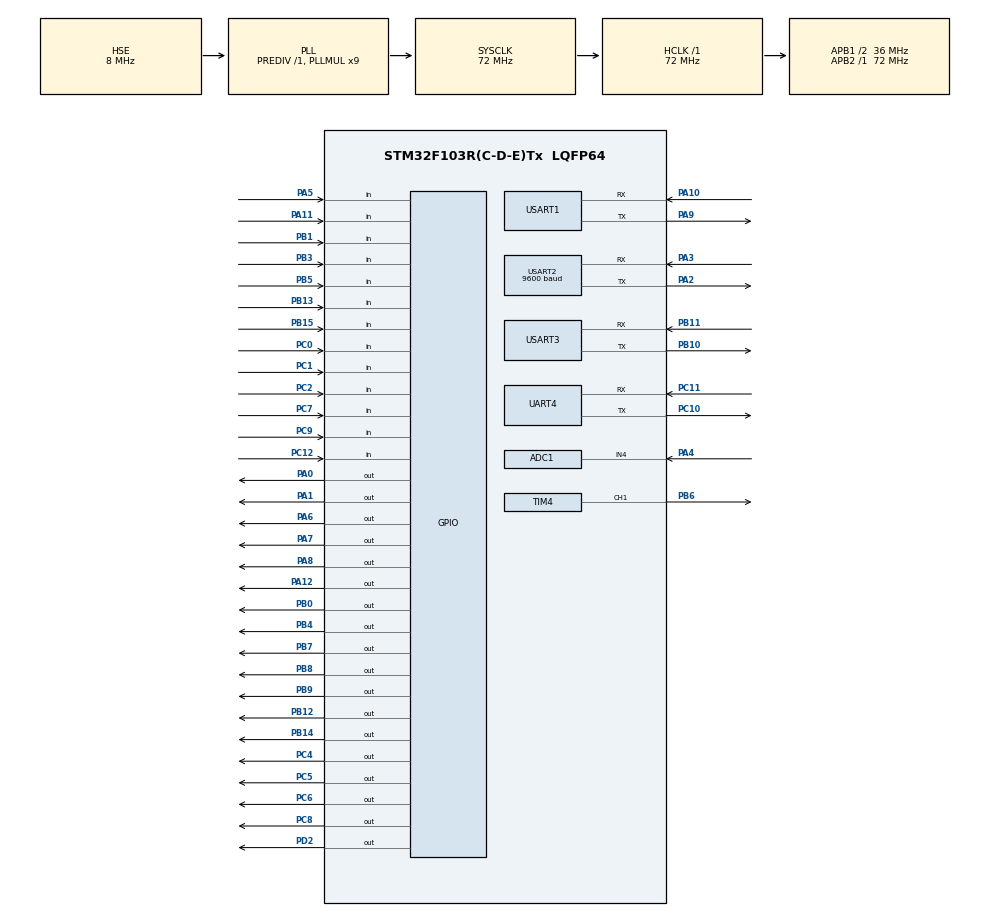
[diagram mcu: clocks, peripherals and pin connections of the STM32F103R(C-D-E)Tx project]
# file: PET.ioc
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ADC1.Channel-1\#ChannelRegularConversion=ADC_CHANNEL_4
ADC1.ContinuousConvMode=DISABLE
ADC1.ExternalTrigConv=ADC_EXTERNALTRIGCONV_T3_TRGO
ADC1.InjNumberOfConversion=0
ADC1.NbrOfConversionFlag=1
ADC1.Rank-1\#ChannelRegularConversion=1
ADC1.SamplingTime-1\#ChannelRegularConversion=ADC_SAMPLETIME_55CYCLES_5
ADC1.master=1
Mcu.Family=STM32F1
Mcu.Name=STM32F103R(C-D-E)Tx
Mcu.Package=LQFP64
NVIC.PriorityGroup=NVIC_PRIORITYGROUP_4
NVIC.TIM1_UP_IRQn=true\:0\:0\:false\:false\:true\:true\:true
NVIC.TIM2_IRQn=true\:0\:0\:false\:false\:true\:true\:true
NVIC.TIM4_IRQn=true\:0\:0\:false\:false\:true\:true\:true
NVIC.USART1_IRQn=true\:0\:0\:false\:false\:true\:true\:true
NVIC.USART2_IRQn=true\:0\:0\:false\:false\:true\:true\:true
PA0-WKUP.GPIO_ModeDefaultOutputPP=GPIO_MODE_OUTPUT_OD
PA0-WKUP.GPIO_Speed=GPIO_SPEED_FREQ_HIGH
PA0-WKUP.PinState=GPIO_PIN_SET
PA0-WKUP.Signal=GPIO_Output
PA1.GPIO_ModeDefaultOutputPP=GPIO_MODE_OUTPUT_OD
PA1.GPIO_Speed=GPIO_SPEED_FREQ_HIGH
PA1.PinState=GPIO_PIN_SET
PA1.Signal=GPIO_Output
PA10.Mode=Asynchronous
PA10.Signal=USART1_RX
PA11.Signal=GPIO_Input
PA12.GPIO_Speed=GPIO_SPEED_FREQ_HIGH
PA12.PinState=GPIO_PIN_SET
PA12.Signal=GPIO_Output
PA13.Mode=Serial_Wire
PA13.Signal=SYS_JTMS-SWDIO
PA14.Mode=Serial_Wire
PA14.Signal=SYS_JTCK-SWCLK
PA2.Mode=Asynchronous
PA2.Signal=USART2_TX
PA3.Mode=Asynchronous
PA3.Signal=USART2_RX
PA4.Signal=ADCx_IN4
PA5.Signal=GPIO_Input
PA6.GPIO_ModeDefaultOutputPP=GPIO_MODE_OUTPUT_OD
PA6.GPIO_Speed=GPIO_SPEED_FREQ_HIGH
PA6.PinState=GPIO_PIN_SET
PA6.Signal=GPIO_Output
PA7.GPIO_ModeDefaultOutputPP=GPIO_MODE_OUTPUT_OD
PA7.GPIO_Speed=GPIO_SPEED_FREQ_HIGH
PA7.PinState=GPIO_PIN_SET
PA7.Signal=GPIO_Output
PA8.GPIO_Speed=GPIO_SPEED_FREQ_HIGH
PA8.PinState=GPIO_PIN_SET
PA8.Signal=GPIO_Output
PA9.Mode=Asynchronous
PA9.Signal=USART1_TX
PB0.GPIO_Speed=GPIO_SPEED_FREQ_HIGH
PB0.PinState=GPIO_PIN_SET
PB0.Signal=GPIO_Output
PB1.Signal=GPIO_Input
PB10.Mode=Asynchronous
PB10.Signal=USART3_TX
PB11.Mode=Asynchronous
PB11.Signal=USART3_RX
PB12.GPIO_Speed=GPIO_SPEED_FREQ_HIGH
PB12.PinState=GPIO_PIN_SET
PB12.Signal=GPIO_Output
PB13.Signal=GPIO_Input
PB14.GPIO_Speed=GPIO_SPEED_FREQ_HIGH
PB14.PinState=GPIO_PIN_SET
PB14.Signal=GPIO_Output
PB15.Signal=GPIO_Input
PB3.Signal=GPIO_Input
PB4.GPIO_Speed=GPIO_SPEED_FREQ_HIGH
PB4.PinState=GPIO_PIN_SET
PB4.Signal=GPIO_Output
PB5.Signal=GPIO_Input
PB6.Signal=S_TIM4_CH1
PB7.GPIO_Speed=GPIO_SPEED_FREQ_HIGH
PB7.PinState=GPIO_PIN_SET
PB7.Signal=GPIO_Output
PB8.GPIO_ModeDefaultOutputPP=GPIO_MODE_OUTPUT_OD
PB8.GPIO_Speed=GPIO_SPEED_FREQ_HIGH
PB8.PinState=GPIO_PIN_RESET
PB8.Signal=GPIO_Output
PB9.GPIO_ModeDefaultOutputPP=GPIO_MODE_OUTPUT_OD
PB9.GPIO_Speed=GPIO_SPEED_FREQ_HIGH
PB9.Signal=GPIO_Output
PC0.Signal=GPIO_Input
PC1.Signal=GPIO_Input
PC10.Mode=Asynchronous
PC10.Signal=UART4_TX
PC11.Mode=Asynchronous
PC11.Signal=UART4_RX
PC12.Signal=GPIO_Input
PC2.Signal=GPIO_Input
PC4.GPIO_ModeDefaultOutputPP=GPIO_MODE_OUTPUT_OD
PC4.GPIO_Speed=GPIO_SPEED_FREQ_HIGH
PC4.PinState=GPIO_PIN_SET
PC4.Signal=GPIO_Output
PC5.GPIO_ModeDefaultOutputPP=GPIO_MODE_OUTPUT_OD
PC5.GPIO_Speed=GPIO_SPEED_FREQ_HIGH
PC5.PinState=GPIO_PIN_SET
PC5.Signal=GPIO_Output
PC6.GPIO_Speed=GPIO_SPEED_FREQ_HIGH
PC6.PinState=GPIO_PIN_SET
PC6.Signal=GPIO_Output
PC7.Signal=GPIO_Input
PC8.GPIO_Speed=GPIO_SPEED_FREQ_HIGH
PC8.PinState=GPIO_PIN_SET
PC8.Signal=GPIO_Output
PC9.Signal=GPIO_Input
PD0-OSC_IN.Mode=HSE-External-Oscillator
PD0-OSC_IN.Signal=RCC_OSC_IN
PD1-OSC_OUT.Mode=HSE-External-Oscillator
PD1-OSC_OUT.Signal=RCC_OSC_OUT
PD2.GPIO_Speed=GPIO_SPEED_FREQ_HIGH
PD2.PinState=GPIO_PIN_SET
PD2.Signal=GPIO_Output
ProjectManager.HeapSize=0x200
ProjectManager.StackSize=0x400
ProjectManager.TargetToolchain=MDK-ARM V5
RCC.ADCPresc=RCC_ADCPCLK2_DIV6
RCC.AHBFreq_Value=72000000
RCC.APB1CLKDivider=RCC_HCLK_DIV2
RCC.APB1Freq_Value=36000000
RCC.APB1TimFreq_Value=72000000
RCC.APB2Freq_Value=72000000
RCC.APB2TimFreq_Value=72000000
RCC.HCLKFreq_Value=72000000
RCC.PLLMUL=RCC_PLL_MUL9
RCC.PLLSourceVirtual=RCC_PLLSOURCE_HSE
RCC.SYSCLKFreq_VALUE=72000000
RCC.SYSCLKSource=RCC_SYSCLKSOURCE_PLLCLK
RCC.USBFreq_Value=72000000
SH.ADCx_IN4.0=ADC1_IN4,IN4
SH.S_TIM4_CH1.0=TIM4_CH1,PWM Generation1 CH1
TIM1.Period=300
TIM1.Prescaler=72-1
TIM2.Period=1000-1
TIM2.Prescaler=72-1
TIM4.Channel-PWM\ Generation1\ CH1=TIM_CHANNEL_1
TIM4.Period=300
TIM4.Prescaler=72-1
TIM4.Pulse-PWM\ Generation1\ CH1=50
UART4.VirtualMode=Asynchronous
USART1.VirtualMode=VM_ASYNC
USART2.BaudRate=9600
USART2.VirtualMode=VM_ASYNC
USART3.VirtualMode=VM_ASYNC
VP_TIM1_VS_ClockSourceINT.Mode=Internal
VP_TIM2_VS_ClockSourceINT.Mode=Internal
VP_TIM4_VS_ClockSourceINT.Mode=Internal
board=custom

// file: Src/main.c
/* USER CODE BEGIN Header */
/**
  ******************************************************************************
  * @file           : main.c
  * @brief          : Main program body
  ******************************************************************************
  * @attention
  *
  * <h2><center>&copy; Copyright (c) 2019 STMicroelectronics.
  * All rights reserved.</center></h2>
  *
  * This software component is licensed by ST under BSD 3-Clause license,
  * the "License"; You may not use this file except in compliance with the
  * License. You may obtain a copy of the License at:
  *                        opensource.org/licenses/BSD-3-Clause
  *
  ******************************************************************************
  */
/* USER CODE END Header */

#include "main.h"
#include "adc.h"
#include "tim.h"
#include "usart.h"
#include "gpio.h"

/* USER CODE BEGIN Includes */
#include "stdio.h"
#include "config.h"
#include "string.h"
#include "24c16.h"
/* USER CODE END Includes */

/* USER CODE BEGIN PD */
#ifdef __GNUC__
  /* With GCC/RAISONANCE, small printf (option LD Linker->Libraries->Small printf
     set to 'Yes') calls __io_putchar() */
  #define PUTCHAR_PROTOTYPE int __io_putchar(int ch)
#else
  #define PUTCHAR_PROTOTYPE int fputc(int ch, FILE *f)
#endif /* __GNUC__ */
/* USER CODE END PD */

/* USER CODE BEGIN PV */
PUTCHAR_PROTOTYPE
{
  /* Place your implementation of fputc here */
  /* e.g. write a character to the EVAL_COM1 and Loop until the end of transmission */
  HAL_UART_Transmit(&huart4, (uint8_t *)&ch, 1, 0xFFFF);

  return ch;
}
/* USER CODE END PV */

void SystemClock_Config(void);
/* USER CODE BEGIN PFP */
/************************/
//CONFIG USR_C322 MODE

static const char *para[]=
{
	"+++",
	"a",
	"AT+WMODE=STA\n",
	//"AT+WSTA=GDZYdating,GDZY888888@\n\r",
	"AT+WSTA=HUAWEI_B316_FC7A,88888888\n\r",
	//"AT+WSTA=HUAWEI_B316_EB98,haohanbo123\n",
	"AT+WANN=DHCP\n",
	"AT+WANN=STATIC,Address,Mask,Gateway,Dns\n",
	"AT+WSLK\n",
	"AT+WKMOD=TRANS\n",
	//"AT+SOCKA=TCPC,172.16.40.42,8080\n",
	//"AT+SOCKA=TCPC,172.16.40.39,8999\n",
	"AT+SOCKA=TCPC,118.25.181.199,8999\n",
//	"AT+SOCKA=TCPC,mini.luanling.club,8080\n",
	"AT+ENTM\n"
};
/************************/

/************************/
//USRART1 CONFIG VALUE

Driver driver;
uint8_t test_value = 0;

uint8_t test_c322_value = 0xff;
uint8_t C322_Config_Success = 0;
__IO uint8_t usr_c322 = 0x00;

USART Uart1;
USART Uart2;
uint8_t Noise_SendData[] = {0x01,0x03,0x00,0x00,0x00,0x01,0x84,0x0a};
uint8_t Heart_beat[] = {0xbb,0xbb,0x00,0x00,0x00,0x00,0x00,0x00,0x00,0x00};
uint8_t Alarm_Data[] = {0xCC,0xCC,0x00,0x00,0x00,0x00,0x02,0x00,0x00,0x00};
uint8_t Heart_Rev[] = {0xdd,0xdd,0x01,0x02,0x03,0x04,0x05,0x06,0x00,0x00};
uint8_t work_status = 0;
uint8_t id_name[4];
us8_t work_fault;
uint8_t noise_num = 0;
uint8_t alarm_start = 0;
uint8_t net_work = 1;
uint8_t alarm_times = 0;
uint8_t auto_fooh = 5;
uint8_t auto_water = 5;
uint8_t net_check = 0;
uint8_t heart_check = 0;
uint8_t chui_value = 0;
uint8_t chui_step = 0;
uint8_t chui_times = 0;
uint8_t noise_alarm = 0;
uint8_t Auto_CleanOut(void);
/************************/

/************************/
//MEEP

uint8_t meep_status = 0;

/************************/

/************************/
//LED
uint8_t led_status = 0x03;
uint8_t led_set_work = 0;

/************************/

/************************/
//DOOR
uint8_t door_status = 0;
/************************/

/************************/
//CPU ID
uint32_t Lock_Code;
uint32_t CpuID[3];

/************************/

/************************/
//24c16
uint32_t Buff_test;

/************************/

/************************/

uint16_t Noise_db = 0;

/************************/

/************************/

uint8_t auto_clean = 0;
uint8_t auto_clean_step = 0;

/************************/
/************************/
// TIM2 CONFIG

uint32_t t2_count_ms[T2_MS_ARRAY_NUM];
uint32_t t1_count_ms;

/************************/
/* USER CODE END PFP */

/* USER CODE BEGIN 0 */
uint8_t Config_usr322(void);
void MEEP_SET(uint8_t meep);
void WORK_LED(uint8_t led);
void WORK_DOOR(uint8_t door);
void HC_SR505_Status(void);
uint8_t Noise_Status(void);
uint8_t ModbusCrc16_Receive(unsigned char Frame[], unsigned char Length);
uint8_t ModbusCrc16_Send(unsigned char Frame[], unsigned char Length);
void GetLockCode(void);
void Heart_Beat(void);
void USR_C322_ACTION(void);
void CHECK_STATUS(void);
void READ_WORKSTATUS(void);
void OPEN_DOOR(void);
void test_relay(void);
void C322_CONFIG_Init(void);
void SoftReset(void);
void chuifengji(void);
/* USER CODE END 0 */

int main(void)
{

  /* MCU Configuration--------------------------------------------------------*/

  /* Reset of all peripherals, Initializes the Flash interface and the Systick. */
  HAL_Init();

  /* Configure the system clock */
  SystemClock_Config();

  /* Initialize all configured peripherals */
  MX_GPIO_Init();
  MX_ADC1_Init();
  MX_TIM2_Init();
  MX_UART4_Init();
  MX_USART1_UART_Init();
  MX_USART2_UART_Init();
  MX_USART3_UART_Init();
  MX_TIM1_Init();
  MX_TIM4_Init();
  /* USER CODE BEGIN 2 */
	GetLockCode();
	HAL_UART_Receive_IT(&huart1, (uint8_t *)&Uart1.aRxBuffer, 1);
	HAL_UART_Receive_IT(&huart2, (uint8_t *)&Uart2.aRxBuffer, 1);
	HAL_TIM_Base_Start_IT(&htim2); //使用定时器的时候调用这个函数启动
	HAL_TIM_Base_Start_IT(&htim1); //使用定时器的时候调用这个函数启动
	READ_WORKSTATUS();
	//HAL_TIM_Base_Stop_IT(&htim2);  //停止定时器的时候调用这个函数关闭
  /* USER CODE END 2 */

  /* Infinite loop */
  while (1)
  {

    /* USER CODE BEGIN 3 */
			//test_relay();
		C322_CONFIG_Init();
		CHECK_STATUS();
		Config_usr322();
		WORK_LED(led_status);
		MEEP_SET(meep_status);
		WORK_DOOR(door_status);
		HC_SR505_Status();
		Noise_Status();
		USR_C322_ACTION();
		Heart_Beat();
		Auto_CleanOut();
		chuifengji();
  }
  /* USER CODE END 3 */
}

void SystemClock_Config(void)
{
  RCC_OscInitTypeDef RCC_OscInitStruct = {0};
  RCC_ClkInitTypeDef RCC_ClkInitStruct = {0};
  RCC_PeriphCLKInitTypeDef PeriphClkInit = {0};

  /** Initializes the CPU, AHB and APB busses clocks
  */
  RCC_OscInitStruct.OscillatorType = RCC_OSCILLATORTYPE_HSE;
  RCC_OscInitStruct.HSEState = RCC_HSE_ON;
  RCC_OscInitStruct.HSEPredivValue = RCC_HSE_PREDIV_DIV1;
  RCC_OscInitStruct.HSIState = RCC_HSI_ON;
  RCC_OscInitStruct.PLL.PLLState = RCC_PLL_ON;
  RCC_OscInitStruct.PLL.PLLSource = RCC_PLLSOURCE_HSE;
  RCC_OscInitStruct.PLL.PLLMUL = RCC_PLL_MUL9;
  if (HAL_RCC_OscConfig(&RCC_OscInitStruct) != HAL_OK)
  {
    Error_Handler();
  }
  /** Initializes the CPU, AHB and APB busses clocks
  */
  RCC_ClkInitStruct.ClockType = RCC_CLOCKTYPE_HCLK|RCC_CLOCKTYPE_SYSCLK
                              |RCC_CLOCKTYPE_PCLK1|RCC_CLOCKTYPE_PCLK2;
  RCC_ClkInitStruct.SYSCLKSource = RCC_SYSCLKSOURCE_PLLCLK;
  RCC_ClkInitStruct.AHBCLKDivider = RCC_SYSCLK_DIV1;
  RCC_ClkInitStruct.APB1CLKDivider = RCC_HCLK_DIV2;
  RCC_ClkInitStruct.APB2CLKDivider = RCC_HCLK_DIV1;

  if (HAL_RCC_ClockConfig(&RCC_ClkInitStruct, FLASH_LATENCY_2) != HAL_OK)
  {
    Error_Handler();
  }
  PeriphClkInit.PeriphClockSelection = RCC_PERIPHCLK_ADC;
  PeriphClkInit.AdcClockSelection = RCC_ADCPCLK2_DIV6;
  if (HAL_RCCEx_PeriphCLKConfig(&PeriphClkInit) != HAL_OK)
  {
    Error_Handler();
  }
}

/* USER CODE BEGIN 4 */

/**
  * @brief  This function Config UsrC322.
  * @param  None
  * @retval : None
  */
void test_relay(void)
{
		if(t2_count_ms[T2_COUNTER_S_10] >= T2_TIMEOUT_S_10)
		{
			t2_count_ms[T2_COUNTER_S_10] = 0;
			test_value++;
			if(test_value%2 == 0)
			{
				START_RELAY2;
				printf("打开\r\n");
			}
			else
			{
				CLOSE_RELAY2;
				printf("关闭\r\n");
			}
			Delay_ms(2000);
			printf("读到信号为 %d。\r\n",READ_RELAY2);
		}
}
void C322_CONFIG_Init(void)
{
			if((test_c322_value == 0)&&(C322_Config_Success == 0))
			{
				test_c322_value++;
				Delay_ms(1000);
				HAL_GPIO_WritePin(GPIOA,GPIO_PIN_0,GPIO_PIN_RESET);
				Delay_ms(8000);
				HAL_GPIO_WritePin(GPIOA,GPIO_PIN_0,GPIO_PIN_SET);
			}
			else if(test_c322_value == 2)
			{
			//	meep_status = MEEP_SHORT_TIME;
			//	t2_count_ms[T2_COUNTER_MS_1500] = 0;
				test_c322_value++;
				C322_Config_Success = 1;
				at24c16_write(0x02,1);
				driver.step = 0x01;
				net_work = 0;
				work_fault.b = 0;
				printf("WIFI模块配置/连接成功!开始正常工作.\r\n");
			}
			if((heart_check >= 2) && (net_check == 5))
			{
				net_check = 0;
				printf("未收到心跳回复，网络断开。\r\n");
			}
			if((heart_check >= 3) && (test_c322_value != 1) &&(driver.mode != 0x02))
			{
				SoftReset();
			}
}
void SoftReset(void)
{
	__set_FAULTMASK(1);
	NVIC_SystemReset();
}
/**
  * @brief  This function Config UsrC322.
  * @param  None
  * @retval : None
  */
uint8_t Config_usr322(void)
{
	if(C322_Config_Success == 2)
	{
			switch(usr_c322)
			{
				case USR_C322_RESET:
					usr_c322 += USR_C322_UART;
					HAL_GPIO_WritePin(GPIOA,GPIO_PIN_1,GPIO_PIN_RESET);
					Delay_ms(500);
					HAL_GPIO_WritePin(GPIOA,GPIO_PIN_1,GPIO_PIN_SET);
					Delay_ms(2000);
				break;
				case USR_C322_UART:
					usr_c322 += USR_C322_UART;
					HAL_UART_Transmit(&huart1, (uint8_t *)para[0],strlen(para[0]), UART_Transmit_Timeout);
				break;
				case USR_C322_CONFIG:
					usr_c322 += USR_C322_UART;
					Delay_ms(1000);
					HAL_UART_Transmit(&huart1, (uint8_t *)para[1],strlen(para[1]), UART_Transmit_Timeout);
				break;
				case USR_C322_MODE:
					usr_c322 += USR_C322_UART;
					Delay_ms(500);
					HAL_UART_Transmit(&huart1, (uint8_t *)para[2],strlen(para[2]), UART_Transmit_Timeout);
				break;
				case USR_C322_ROUTER:
					usr_c322 += USR_C322_UART;
					Delay_ms(500);
					HAL_UART_Transmit(&huart1, (uint8_t *)para[3],strlen(para[3]), UART_Transmit_Timeout);
				break;
				case USR_C322_DHCP:
					usr_c322 += USR_C322_UART;
					Delay_ms(500);
					HAL_UART_Transmit(&huart1, (uint8_t *)para[4],strlen(para[4]), UART_Transmit_Timeout);
				break;
				case USR_C322_CONNECT_ROUTER_STATUS:
					usr_c322 += USR_C322_UART;
					Delay_ms(500);
					HAL_UART_Transmit(&huart1, (uint8_t *)para[6],strlen(para[6]), UART_Transmit_Timeout);
				break;
				case USR_C322_SERIALAPP:
					usr_c322 += USR_C322_UART;
					Delay_ms(500);
					HAL_UART_Transmit(&huart1, (uint8_t *)para[7],strlen(para[7]), UART_Transmit_Timeout);
				break;
				case USR_C322_SERVER:
					usr_c322 += USR_C322_UART;
					Delay_ms(500);
					HAL_UART_Transmit(&huart1, (uint8_t *)para[8],strlen(para[8]), UART_Transmit_Timeout);
				break;
				case USR_C322_WORK:
					usr_c322 += USR_C322_UART;
					Delay_ms(500);
					HAL_UART_Transmit(&huart1, (uint8_t *)para[9],strlen(para[9]), UART_Transmit_Timeout);
				break;
			}
			if((usr_c322 < USR_C322_ENTM_OK) && (t2_count_ms[T2_COUNTER_S_20] >= T2_TIMEOUT_S_20))
			{
				t2_count_ms[T2_COUNTER_S_20] = 0;
				printf("USR-C322 配置不成功。\r\n");
				usr_c322 = 0;
			}
	}
	return 0;
}

/**
  * @brief  This function USART1 Call Back.
  * @param  None
  * @retval : None
  */
void HAL_UART_RxCpltCallback(UART_HandleTypeDef *huart)
{
	UNUSED(huart);
	if(huart->Instance == USART1)
	{
		if(Uart1.Rx_Cnt >= 255)
		{
			Uart1.Rx_Cnt = 0;
			memset(Uart1.RxBuff,0x00,sizeof(Uart1.RxBuff));
		}
		else
		{
			switch(usr_c322)
			{
				case USR_C322_RECEIVE:
					if(Uart1.aRxBuffer == 'a')
					{
						usr_c322 = USR_C322_CONFIG;
						Uart1.Rx_Cnt = 0;
						memset(Uart1.RxBuff,0x00,sizeof(Uart1.RxBuff));
					}
				break;
				case USR_C322_OK:
					Uart1.RxBuff[Uart1.Rx_Cnt++] = Uart1.aRxBuffer;
					if(Uart1.Rx_Cnt >= 3)
					{
						if((Uart1.RxBuff[0] == '+')&&(Uart1.RxBuff[1] == 'O')&&(Uart1.RxBuff[2] == 'K'))
						{
							usr_c322 = USR_C322_MODE;
							Uart1.Rx_Cnt = 0;
							memset(Uart1.RxBuff,0x00,sizeof(Uart1.RxBuff));
						}
					}
				break;
				case USR_C322_ROUTER_STATUS:
						Uart1.RxBuff[Uart1.Rx_Cnt++] = Uart1.aRxBuffer;
						if((Uart1.RxBuff[Uart1.Rx_Cnt-4] == ',')&&(Uart1.RxBuff[Uart1.Rx_Cnt-3] == '0'))
						{
									HAL_UART_Transmit(&huart4, (uint8_t *)&Uart1.RxBuff, Uart1.Rx_Cnt,0xFFFF);
							//		printf("网络原因，配置不成功！\r\n");
									usr_c322 = USR_C322_DHCP;
								//	usr_c322++;
									Uart1.Rx_Cnt = 0;
									memset(Uart1.RxBuff,0x00,sizeof(Uart1.RxBuff));
						}
						else if(Uart1.RxBuff[Uart1.Rx_Cnt-6] == ',')
						{
							HAL_UART_Transmit(&huart4, (uint8_t *)&Uart1.RxBuff, Uart1.Rx_Cnt,0xFFFF);
							Uart1.Rx_Cnt = 0;
							memset(Uart1.RxBuff,0x00,sizeof(Uart1.RxBuff));
							usr_c322++;
						}
						else if(Uart1.RxBuff[Uart1.Rx_Cnt-5] == ',')
						{
							HAL_UART_Transmit(&huart4, (uint8_t *)&Uart1.RxBuff, Uart1.Rx_Cnt,0xFFFF);
							Uart1.Rx_Cnt = 0;
							memset(Uart1.RxBuff,0x00,sizeof(Uart1.RxBuff));
							usr_c322++;
						}
						else if(Uart1.RxBuff[Uart1.Rx_Cnt-4] == ',')
						{
							HAL_UART_Transmit(&huart4, (uint8_t *)&Uart1.RxBuff, Uart1.Rx_Cnt,0xFFFF);
							Uart1.Rx_Cnt = 0;
							memset(Uart1.RxBuff,0x00,sizeof(Uart1.RxBuff));
							usr_c322++;
						}
				break;
				default:
					if(usr_c322 >= USR_C322_ENTM_OK+1)
					{
						Uart1.RxBuff[Uart1.Rx_Cnt++] = Uart1.aRxBuffer;
						if(Uart1.Rx_Cnt >= 10)
						{
							if(( Uart1.RxBuff[0] == 0xFF) && (id_name[0] == Uart1.RxBuff[2]) && (id_name[1] == Uart1.RxBuff[3])&& \
								(id_name[2] == Uart1.RxBuff[4])&& (id_name[3] == Uart1.RxBuff[5]))
							{
								if(ModbusCrc16_Receive(Uart1.RxBuff,USR_C322_RECEIVE_LENGTH) == True)
								{
									Uart1.Flag = 0;
									Uart1.Rx_Cnt = 0;
									memcpy(Uart1.RxBuffer,&Uart1.RxBuff,Para_Data_Length);
									memset(Uart1.RxBuff,0x00,sizeof(Uart1.RxBuff));
									Uart1.ReceiveSuccess_Flag = 1;
								}
								else
								{
									Uart1.Rx_Cnt = 0;
									Uart1.Flag = 0;
									memset(Uart1.RxBuff,0x00,sizeof(Uart1.RxBuff));
									Uart1.ReceiveSuccess_Flag = 0;
								}
							}
							else if((Heart_Rev[0] == Uart1.RxBuff[0]) && (Heart_Rev[1] == Uart1.RxBuff[1]) && (id_name[0] == Uart1.RxBuff[2]) && \
								(id_name[1] == Uart1.RxBuff[3])&& (id_name[2] == Uart1.RxBuff[4])&& (id_name[3] == Uart1.RxBuff[5]) && \
							(Uart1.RxBuff[6] == 0x05)&& (Uart1.RxBuff[7] == 0X06))
							{
									net_check = 5;
									printf("收到心跳回复。\r\n");
									heart_check = 0;
									if((test_c322_value == 1) && (C322_Config_Success == 0))
									{
										test_c322_value++;
									}
									Uart1.Rx_Cnt = 0;
									Uart1.Flag = 0;
									memset(Uart1.RxBuff,0x00,sizeof(Uart1.RxBuff));
									Uart1.ReceiveSuccess_Flag = 0;
							}
							else
							{
									Uart1.Rx_Cnt = 0;
									Uart1.Flag = 0;
									memset(Uart1.RxBuff,0x00,sizeof(Uart1.RxBuff));
									Uart1.ReceiveSuccess_Flag = 0;
							}
						}
					}
					else
					{
						Uart1.RxBuff[Uart1.Rx_Cnt++] = Uart1.aRxBuffer;
						if((Uart1.RxBuff[Uart1.Rx_Cnt-1] == 0x0A)&&(Uart1.RxBuff[Uart1.Rx_Cnt-2] == 0x0D)&&(Uart1.RxBuff[Uart1.Rx_Cnt-3] == 'K')&&(Uart1.RxBuff[Uart1.Rx_Cnt-4] == 'O')) //判断结束位
						{
							HAL_UART_Transmit(&huart4, (uint8_t *)&Uart1.RxBuff, Uart1.Rx_Cnt,0xFFFF);
							if(usr_c322 == USR_C322_ENTM_OK)
							{
								t2_count_ms[T2_COUNTER_S_60] = 60000;
							//	meep_status = MEEP_SHORT_TIME;
							//	t2_count_ms[T2_COUNTER_MS_1500] = 0;
								printf("WIFI AT命令配置成功。\r\n");
								driver.step = 0x01;
								net_work = 0;
								work_fault.b = 0;
							}
							Uart1.Rx_Cnt = 0;
							memset(Uart1.RxBuff,0x00,sizeof(Uart1.RxBuff));
							usr_c322++;
						}
						else if((Uart1.RxBuff[Uart1.Rx_Cnt-1] == 0x0A)&&(Uart1.RxBuff[Uart1.Rx_Cnt-2] == 0x0D)&&(Uart1.RxBuff[Uart1.Rx_Cnt-6] == 'R')&&(Uart1.RxBuff[Uart1.Rx_Cnt-7] == 'R')) //判断结束位
						{
							HAL_UART_Transmit(&huart4, (uint8_t *)&Uart1.RxBuff, Uart1.Rx_Cnt,0xFFFF);
							Uart1.Rx_Cnt = 0;
							memset(Uart1.RxBuff,0x00,sizeof(Uart1.RxBuff));
							usr_c322++;
						}
					}
				break;
			}
		}

		HAL_UART_Receive_IT(&huart1, (uint8_t *)&Uart1.aRxBuffer, 1);
	}
	if(huart->Instance == USART2)
	{
		if(Uart2.Rx_Cnt >= 7)
		{
			Uart2.Rx_Cnt = 0;
			Uart2.RxBuff[Uart2.Rx_Cnt++] = Uart2.aRxBuffer;
		}
		else
		{
			Uart2.RxBuff[Uart2.Rx_Cnt++] = Uart2.aRxBuffer;
			if((Uart2.Rx_Cnt >= Noise_Data_Length) && (ModbusCrc16_Receive(Uart2.RxBuff,Uart2.Rx_Cnt) == True))
			{
				Uart2.ReceiveSuccess_Flag = 1;
				Uart2.Rx_Cnt = 0;
			}
		}
		HAL_UART_Receive_IT(&huart2, (uint8_t *)&Uart2.aRxBuffer, 1);
	}
}
/**
  * @brief  This function Meep Set.
  * @param  None
  * @retval : None
  */
void MEEP_SET(uint8_t meep)
{
	switch(meep)
	{
		case MEEP_SHORT_TIME:
			if(t2_count_ms[T2_COUNTER_MS_1500] >= T2_TIMEOUT_MS_1500)
			{
				HAL_TIM_PWM_Stop(&htim4,TIM_CHANNEL_1);
				meep_status = MEEP_CLOSE;
			}
			else
			{
				HAL_TIM_PWM_Start(&htim4,TIM_CHANNEL_1);
			}
		break;
		case MEEP_ALWAY_TIME:
				HAL_TIM_PWM_Start(&htim4,TIM_CHANNEL_1);
		break;
		default:
				HAL_TIM_PWM_Stop(&htim4,TIM_CHANNEL_1);
		break;
	}
}
/**
  * @brief  This function WORK LED Set.
  * @param  None
  * @retval : None
  */
void WORK_LED(uint8_t led)
{
	if(t2_count_ms[T2_COUNTER_MS_500] >= T2_TIMEOUT_MS_500)  //500ms
	{
		t2_count_ms[T2_COUNTER_MS_500] = 0;
		switch(led)
		{
			case WORK_FREE:
				CLOSE_LED1; START_LED2;
			break;
			case WORK_NORMAL:
				if(led_set_work == 0) 		{ CLOSE_LED1;	START_LED2; 	led_set_work = 1; }
				else 											{ CLOSE_LED1;	CLOSE_LED2;		led_set_work = 0; }
			break;
			case WORK_ERROR:
				if(led_set_work == 1) 		{ CLOSE_LED2; START_LED1; 	led_set_work = 0; }
				else 											{ CLOSE_LED2; CLOSE_LED1;		led_set_work = 1; }
		  break;
			case WORK_UNUSUAL:
				CLOSE_LED2; START_LED1;
			break;
		}
	}
}

/**
  * @brief  This function LOOP LED Set.
  * @param  None
  * @retval : None
  */
void WORK_DOOR(uint8_t door)
{
	switch(door)
		{
			case WORK_NORMAL:
				CLOSE_LED4;START_LED3;

			break;
			default:
				CLOSE_LED3;START_LED4;
			break;
		}
}
/**
  * @brief  This function Tim2 Counter.
  * @param  None
  * @retval : None
  */
void HAL_TIM_PeriodElapsedCallback(TIM_HandleTypeDef *htim)
{
		int i;
		if(htim->Instance == TIM2)
		{
			for(i = 0; i < T2_MS_ARRAY_NUM; i++)
			{
				t2_count_ms[i]++;
				if(t2_count_ms[i] >= T2_TIMEOUT_MAXIMUM)
				{
					t2_count_ms[i] = 0;
				}
			}
		}
		if(htim->Instance == TIM1)
		{
				t1_count_ms++;
		}
}
/**
  * @brief  This function Read HC-SR501.
  * @param  None
  * @retval : None
  */
void HC_SR505_Status(void)
{
	if((READ_LIMIT_SWITCH == 0x00) && (driver.step == 1) && (auto_clean == 0x00) && (driver.mode != 0x02))
	{
				driver.step = 0x02;
				t2_count_ms[T2_COUNTER_S_10] = 0;
				printf("门关闭，延时10S继续判断，等待。\r\n");
				CLOSE_RELAY2;
	}
	else if((driver.step == 0x02)&&(t2_count_ms[T2_COUNTER_S_10] > T2_TIMEOUT_S_10))
	{
		t2_count_ms[T2_COUNTER_S_10] = 0;
		if((READ_HC_SR505_OUT2 == 0x00) && (READ_HC_SR505_OUT1 == 0x00) && ((READ_LIMIT_SWITCH == 0x00) && (driver.mode == 0x00)))
		{
			CLOSE_RELAY2;
			driver.step = 0x03;
			meep_status = MEEP_SHORT_TIME;
			t2_count_ms[T2_COUNTER_MS_1500] = 0;
			work_fault.BIT2 = 0;
			printf("门关闭，且无宠物，等待接收指令、待机或自动清洗。\r\n");
		}
		else if((((READ_HC_SR505_OUT2 == 0x01) || (READ_HC_SR505_OUT1 == 0x01)) && (driver.mode == 0x01)) && (READ_LIMIT_SWITCH == 0x00))
		{
			CLOSE_RELAY2;
			driver.step = 0x03;
			meep_status = MEEP_CLOSE;
	//		t2_count_ms[T2_COUNTER_MS_1500] = 0;
			printf("门关闭，且有动物，开启工作，等待接收指令。\r\n");
		}
		else if((driver.mode == 0x01) && (READ_HC_SR505_OUT1 == 0x00) && (READ_HC_SR505_OUT2 == 0x00))
		{
			printf("未检测到宠物。请放入宠物。\r\n");
		//	OPEN_DOOR();
			driver.step = 0x01;
			t2_count_ms[T2_COUNTER_S_10] = 0;
			meep_status = MEEP_SHORT_TIME;
			t2_count_ms[T2_COUNTER_MS_1500] = 0;
			work_fault.BIT1 = 1;
		}
		else if((driver.mode == 0x00) && ((READ_HC_SR505_OUT1 == 0x01) || (READ_HC_SR505_OUT2 == 0x01)))
		{
			printf("空闲时，检测宠物箱有宠物，发送报警。\r\n");
			driver.step = 0x01;
			meep_status = MEEP_SHORT_TIME;
			t2_count_ms[T2_COUNTER_S_10] = 0;
			t2_count_ms[T2_COUNTER_MS_1500] = 0;
			work_fault.BIT1 = 1;
		}
//		if((driver.mode == 0x02) &&((READ_HC_SR505_OUT1 == 0x01) || (READ_HC_SR505_OUT2 == 0x01)) && (auto_clean != 0x00))
//		{
//			//OPEN_DOOR();
//			auto_clean = 0x00;
//			t2_count_ms[T2_COUNTER_S_20] = 0;
//			meep_status = MEEP_SHORT_TIME;
//			t2_count_ms[T2_COUNTER_MS_1500] = 0;
//			work_fault.BIT2 = 1;
//			printf("强制清洗过程中检测到有宠物，发送报警。\r\n");
//		}
	}
}
/**
  * @brief  This function OPEN DOOR.
  * @param  None
  * @retval : None
  */
void OPEN_DOOR(void)
{
	t2_count_ms[T2_COUNTER_S_35] = 0;
	START_RELAY1;
	Delay_ms(1000);
	CLOSE_RELAY1;
	Delay_ms(200);
	START_RELAY2;
}
/**
  * @brief  This function Config Noise.
  * @param  None
  * @retval : None
  */
uint8_t Noise_Status(void)
{
	if((t2_count_ms[T2_COUNTER_S_6] > T2_TIMEOUT_S_6)&&(usr_c322 >= USR_C322_ENTM_OK))
	{
		t2_count_ms[T2_COUNTER_S_6] = 0;
		noise_alarm++;
		if((noise_alarm > 3)&&(noise_num < 2))
		{
			noise_alarm = 0;
			noise_num = 0;
		}
		HAL_UART_Transmit(&huart2, (uint8_t *)Noise_SendData,sizeof(Noise_SendData), UART_Transmit_Timeout);
	}
	if(Uart2.ReceiveSuccess_Flag == True)
	{
		Uart2.ReceiveSuccess_Flag = 0;
		Noise_db = ((Uart2.RxBuff[3] << 8) + Uart2.RxBuff[4])/10;
		memset(Uart2.RxBuff,0x00,sizeof(Uart2.RxBuff));
		//printf("Noise db is %03d\r\n",Noise_db);
	}
	if((Noise_db >= NOISE_ALARM) && (driver.mode != 0x02))
	{
		noise_num++;
		if(noise_num >= 2)
		{
			noise_num = 0;
			Alarm_Data[2] = id_name[0];
			Alarm_Data[3] = id_name[1];
			Alarm_Data[4] = id_name[2];
			Alarm_Data[5] = id_name[3];
			Alarm_Data[6] = 0x00;
			Alarm_Data[7] = Noise_db;
			if(ModbusCrc16_Send(Alarm_Data,sizeof(Alarm_Data)) == True)
			{
				HAL_UART_Transmit(&huart1, Alarm_Data,sizeof(Alarm_Data), UART_Transmit_Timeout);
				printf("噪声报警。\r\n");
				noise_num = 0;
				Noise_db = 0;
			}
		}
	}
	return 0;
}
/**
  * @brief  This function CRC.
  * @param  None
  * @retval : None
  */
uint8_t ModbusCrc16_Receive(unsigned char Frame[], unsigned char Length)
{
	unsigned int crc16 = 0xffff;
	unsigned char ByteIndex, n;
	for (ByteIndex = 0; ByteIndex < Length - 2; ByteIndex++)
	{
		crc16 ^= Frame[ByteIndex];
		for (n = 0; n < 8; n++)
		{
			if (crc16 & 1)
			{
				crc16 >>= 1;
				crc16 ^= 0xA001;
			}
			else
			{
				crc16 >>= 1;
			}
		}
	}
	if((Frame[Length - 2] == (crc16&0xFF)) && (Frame[Length - 1] == crc16 >> 8))
	{
		return True;
	}
	else
	{
		return False;
	}
}
/**
  * @brief  This function CRC.
  * @param  None
  * @retval : None
  */
uint8_t ModbusCrc16_Send(unsigned char Frame[], unsigned char Length)
{
	unsigned int crc16 = 0xffff;
	unsigned char ByteIndex, n;
	for (ByteIndex = 0; ByteIndex < Length - 2; ByteIndex++)
	{
		crc16 ^= Frame[ByteIndex];
		for (n = 0; n < 8; n++)
		{
			if (crc16 & 1)
			{
				crc16 >>= 1;
				crc16 ^= 0xA001;
			}
			else
			{
				crc16 >>= 1;
			}
		}
	}
	Frame[Length - 2] = crc16;
	Frame[Length - 1] = crc16 >> 8;
	return True;
}
/**
  * @brief  This function 原cube HAL库中，重写
  * @param  None
  * @retval : None
  */
void HAL_IncTick(void)
{
	if(time_delay)
		time_delay--;
}
/**
  * @brief  This function CPU ID.
  * @param  None
  * @retval : None
  */
void GetLockCode(void)
{
	CpuID[0]=HAL_GetUIDw0();
	CpuID[1]=HAL_GetUIDw1();
	CpuID[2]=HAL_GetUIDw2();
	Lock_Code=(CpuID[0]>>1)+(CpuID[1]>>2)+(CpuID[2]>>3);
	id_name[0] = Lock_Code >> 24;
	id_name[1] = Lock_Code >> 16;
	id_name[2] = Lock_Code >> 8;
	id_name[3] = Lock_Code &0xff;
	printf("设备id：%d\r\n",Lock_Code);
}

/**
  * @brief  This function Auto_CleanOut.
  * @param  None
  * @retval : None
  */
uint8_t Auto_CleanOut(void)
{
	if((driver.mode == 0x02) && (auto_clean == 0x00))
	{
		if(t2_count_ms[T2_COUNTER_S_20] >= T2_TIMEOUT_S_20)
		{
			if((READ_LIMIT_SWITCH != 0x00) || (READ_HC_SR505_OUT1 != 0) || (READ_HC_SR505_OUT2 != 0))
			{
				t2_count_ms[T2_COUNTER_S_20] = 0;
				t2_count_ms[T2_COUNTER_MS_1500] = 0;
				meep_status = MEEP_SHORT_TIME;
				driver.step = 0xff;
				printf("开始强制清洗过程中，门未关或检测到有宠物，报警提示。\r\n");

				work_fault.BIT2 = 1;
			}
			else
			{
				auto_clean++;
				driver.step = 0x03;
				work_fault.BIT2 = 0;
				printf("开始强制清洗过程中，延时20秒后，检测无宠物、门关闭，可继续工作。\r\n");
			}
		}
	}
//		else
//		{
			if((READ_LIMIT_SWITCH == 0x00) && (READ_HC_SR505_OUT1 == 0) && (READ_HC_SR505_OUT2 == 0) && (driver.step == 3)&&(driver.mode == 0x02))
			{
				driver.step = 4;
				auto_clean++;
				t2_count_ms[T2_COUNTER_S_2_30] = 0;
					printf("开始强制清洗过程中，开喂水阀. 打开时间30秒。\r\n");
					if(READ_RELAY3 == False)
					{
						START_RELAY3;
						Delay_ms(500);
						if(READ_RELAY3 == True)
						{
							t2_count_ms[T2_COUNTER_S_15] = 0;
							work_fault.BIT3 = 0;
							Uart1.TxBuffer[7] = 0x01;
						}
						else
						{
							printf("喂水阀故障。\r\n");
							work_fault.BIT3 = 1;
							CLOSE_RELAY3;
							Uart1.TxBuffer[7] = 0x00;
						}
					}
					else
					{
						printf("喂水阀在打开状态。\r\n");
						work_fault.BIT3 = 0;
						Uart1.TxBuffer[7] = 0x02;
					}
			}
			else if((driver.step == 4)&&(t2_count_ms[T2_COUNTER_S_2_30] >= T2_TIMEOUT_S_2_30))
			{
				printf("开始强制清洗，步骤二。\r\n");
				printf("开始强制清洗过程中，关喂水阀指令。\r\n");
				CLOSE_RELAY3;
				Delay_ms(500);
				if(READ_RELAY3 == True)
				{
					printf("关喂水阀故障。\r\n");
					work_fault.BIT3 = 1;
					Uart1.TxBuffer[7] = 0x01;
				}
				else
				{
					printf("喂水阀在关状态。\r\n");
					work_fault.BIT3 = 0;
					Uart1.TxBuffer[7] = 0x00;
				}
				meep_status = MEEP_CLOSE;
				auto_clean_step++;
				auto_clean++;
				driver.step++;
				t2_count_ms[T2_COUNTER_S_30] = 0;
				t2_count_ms[T2_COUNTER_S_20] = 0;
				START_RELAY6;
				START_RELAY5;
				printf("开始强制清洗过程中，打开清洗泵和雨刷点击，打开时间30秒。\r\n");
				Delay_ms(1000);
				if(READ_RELAY6 == True)
				{
					printf("开始强制清洗过程中，打开清洗泵成功。\r\n");
					work_fault.BIT6 = 0;
				}
				else
				{
					printf("开始强制清洗过程中，打开清洗泵失败。\r\n");
					work_fault.BIT6 = 1;
					CLOSE_RELAY6;
				}
				if(READ_RELAY5 == True)
				{
					printf("开始强制清洗过程中，打开雨刷电机成功。\r\n");
					work_fault.BIT5 = 0;
				}
				else
				{
					work_fault.BIT5 = 1;
					printf("开始强制清洗过程中，打开雨刷电机失败。\r\n");
					CLOSE_RELAY5;
				}
			}
	else if((auto_clean_step == 0x01) && (t2_count_ms[T2_COUNTER_S_30] >= T2_TIMEOUT_S_30))
	{
		printf("开始强制清洗过程中，步骤三。\r\n");
		printf("开始强制清洗过程中，到30秒，关闭雨刷电机，清洗泵在打开xx秒。\r\n");
		auto_clean_step++;
		CLOSE_RELAY5;
		Delay_ms(500);
		printf("开始强制清洗过程中，关闭雨刷电机。\r\n");
		if(READ_RELAY5 == False)
		{
			printf("开始强制清洗过程中，关闭雨刷电机成功。\r\n");
			work_fault.BIT5 = 0;
		}
		else
		{
			printf("开始强制清洗过程中，关闭雨刷电机失败。\r\n");
			work_fault.BIT5 = 1;
		}
		t2_count_ms[T2_COUNTER_S_10] = 0;
	}
	//else if((auto_clean_step == 0x02) && (t2_count_ms[T2_COUNTER_S_10] >= T2_TIMEOUT_S_10))
	else if((auto_clean_step == 0x02) && (t2_count_ms[T2_COUNTER_S_10] >= T2_TIMEOUT_S_10))
	{
		printf("开始强制清洗过程中，步骤四\r\n");
		printf("开始强制清洗过程中，到40秒，关闭雨刷清洗泵。\r\n");
		auto_clean_step++;
		CLOSE_RELAY6;
		printf("开始强制清洗过程中，关闭清洗泵。\r\n");
		Delay_ms(500);
		if(READ_RELAY6 == False)
		{
			printf("开始强制清洗过程中，关闭清洗泵成功。\r\n");
			work_fault.BIT6 = 0;
		}
		else
		{
			printf("开始强制清洗过程中，关闭清洗泵失败。\r\n");
			work_fault.BIT6 = 1;
		}
	}
	else if(auto_clean_step == 0x03)
	{
		printf("开始强制清洗过程中，步骤五。\r\n");
		auto_clean_step++;
		START_RELAY7;
		printf("开始强制清洗过程中，打开吹风机，打开时间60秒。\r\n");
		Delay_ms(1000);
		if(READ_RELAY7 == True)
		{
			chui_value = 1;
			chui_times = 0;
			chui_step = 0;
			t2_count_ms[T2_COUNTER_S_300] = 0;
			printf("开始强制清洗过程中，打开吹风机成功。\r\n");
			work_fault.BIT7 = 0;
		}
		else
		{
			CLOSE_RELAY7;
			printf("开始强制清洗过程中，打开吹风机失败。\r\n");
			work_fault.BIT7 = 1;
		}
		t2_count_ms[T2_COUNTER_S_60] = 0;
	}
	//else if((auto_clean_step == 0x04) && (t2_count_ms[T2_COUNTER_S_60] >= T2_TIMEOUT_S_60))
	else if((auto_clean_step == 0x04) && (chui_value == 2))
	{
		printf("开始强制清洗过程中，步骤六。\r\n");
		auto_clean_step++;
		printf("开始强制清洗过程中，到XX秒，关闭吹风机。\r\n");
		chui_value = 0;
		chui_times = 0;
		chui_step = 0;
//		CLOSE_RELAY7;
//		printf("开始强制清洗过程中，到60秒，关闭吹风机。\r\n");
//		Delay_ms(500);
//		if(READ_RELAY7 == False)
//		{
//			printf("开始强制清洗过程中，关闭吹风机成功。\r\n");
//			work_fault.BIT7 = 0;
//		}
//		else
//		{
//			printf("开始强制清洗过程中，关闭吹风机失败。\r\n");
//			work_fault.BIT7 = 1;
//		}
		START_RELAY10;
		printf("开始强制清洗过程中，打开紫外线消毒灯，打开时间300秒。\r\n");
		t2_count_ms[T2_COUNTER_S_2_300] = 0;
	}
	else if((auto_clean_step == 0x05) && (t2_count_ms[T2_COUNTER_S_2_300] >= T2_TIMEOUT_S_2_300))
	{
		printf("开始强制清洗过程中，步骤七。\r\n");
		auto_clean_step = 0x00;
		auto_clean = 0x00;
		printf("开始强制清洗过程中，到120秒，关闭紫外线消毒灯。\r\n");
		CLOSE_RELAY10;
		printf("开始强制清洗过程中，关闭紫外线消毒灯。\r\n");
		driver.mode = 0x00;
		at24c16_write(0x00,driver.mode);
		Alarm_Data[2] = id_name[0];
		Alarm_Data[3] = id_name[1];
		Alarm_Data[4] = id_name[2];
		Alarm_Data[5] = id_name[3];
		Alarm_Data[6] = 0x04;
		Alarm_Data[7] = 0x00;
		if(ModbusCrc16_Send(Alarm_Data,sizeof(Alarm_Data)) == True)
		{
			HAL_UART_Transmit(&huart1, Alarm_Data,sizeof(Alarm_Data), UART_Transmit_Timeout);
			printf("自动清洗完成。\r\n");
			meep_status = MEEP_SHORT_TIME;
			t2_count_ms[T2_COUNTER_MS_1500] = 0;
		}

		return True;
	}
	return False;
}

/**
  * @brief  This function heartbeat.
  * @param  None
  * @retval : None
  */
uint8_t aa = 0;
uint8_t bb = 0;
void Heart_Beat(void)
{
	if((t2_count_ms[T2_COUNTER_S_60] > T2_TIMEOUT_S_60)&&(usr_c322 >= USR_C322_ENTM_OK))
	{
		t2_count_ms[T2_COUNTER_S_60] = 0;
		Heart_beat[2] = id_name[0];
		Heart_beat[3] = id_name[1];
		Heart_beat[4] = id_name[2];
		Heart_beat[5] = id_name[3];
		Heart_beat[6] = work_status;
		Heart_beat[7] = work_fault.b;
		if(ModbusCrc16_Send(Heart_beat,sizeof(Heart_beat)) == True)
		{
			HAL_UART_Transmit(&huart1, Heart_beat,sizeof(Heart_beat), UART_Transmit_Timeout);
		//	net_check++;
			printf("心跳。\r\n");
			heart_check++;
		}

	}
}
/**
  * @brief  This function open door.
  * @param  None
  * @retval : None
  */
void USR_C322_ACTION(void)
{
	if(Uart1.ReceiveSuccess_Flag == True)
	{

		Uart1.ReceiveSuccess_Flag = 0;
		if((driver.mode == 0x02) && (Uart1.RxBuffer[6] != 0x10) && (work_fault.BIT2 == 0))
		{
			memset(Uart1.RxBuffer,0x00,sizeof(Uart1.RxBuffer));
			Uart1.TxBuffer[0] = 0xAA;
			Uart1.TxBuffer[1] = 0xAA;
			Uart1.TxBuffer[2] = id_name[0];
			Uart1.TxBuffer[3] = id_name[1];
			Uart1.TxBuffer[4] = id_name[2];
			Uart1.TxBuffer[5] = id_name[3];
			Uart1.TxBuffer[6] = 0x11;
			if(ModbusCrc16_Send(Uart1.TxBuffer,sizeof(Uart1.TxBuffer)) == True)
			{
				HAL_UART_Transmit(&huart1, Uart1.TxBuffer,sizeof(Uart1.TxBuffer), UART_Transmit_Timeout);
				printf("拒绝操作，在强制消毒过程中，回复。\r\n");
			}
			return;
		}
		switch(Uart1.RxBuffer[6])
		{
			case 0x01:
				if(Uart1.RxBuffer[7] == True)
				{
					alarm_start = 2;
					if(READ_LIMIT_SWITCH == False)
					{
						printf("收到开门指令。\r\n");
						OPEN_DOOR();
						if(READ_LIMIT_SWITCH == True)
						{
							Uart1.TxBuffer[7] = 0x01;
						}
						else
						{
							printf("门故障。\r\n");
							work_fault.BIT0 = 1;
							Uart1.TxBuffer[7] = 0x00;
						}
					}
					else
					{
						printf("门在打开状态。\r\n");
						Uart1.TxBuffer[7] = 0x02;
					}
				}
				Uart1.TxBuffer[6] = 0x01;
			break;
			case 0x02:
				if(Uart1.RxBuffer[7] == True)
				{
					printf("收到开柜门灯指令。\r\n");
					if(READ_RELAY2 == False)
					{
						START_RELAY2;
						Delay_ms(500);
						if(READ_RELAY2 == True)
						{
							Uart1.TxBuffer[7] = 0x01;
						}
						else
						{
							CLOSE_RELAY2;
							printf("柜门灯故障。\r\n");
							Uart1.TxBuffer[7] = 0x00;
						}
					}
					else
					{
						printf("柜门灯已在打开状态。\r\n");
						Uart1.TxBuffer[7] = 0x02;
					}
				}
				else
				{
					printf("收到关柜门灯指令。\r\n");
					CLOSE_RELAY2;
					Delay_ms(500);
					if(READ_RELAY2 == True)
					{
						printf("关柜门灯故障。\r\n");
						Uart1.TxBuffer[7] = 0x01;
					}
					else
					{
						Uart1.TxBuffer[7] = 0x00;
					}
				}
				Uart1.TxBuffer[6] = 0x02;
			break;
			case 0x03:
				if(Uart1.RxBuffer[7] == True)
				{
					printf("收到开喂水阀指令，喂水15秒。\r\n");
					if(READ_RELAY3 == False)
					{
						START_RELAY3;
						Delay_ms(500);
						if(READ_RELAY3 == True)
						{
							auto_fooh = 0x01;
							t2_count_ms[T2_COUNTER_S_15] = 0;
							work_fault.BIT3 = 0;
							Uart1.TxBuffer[7] = 0x01;
						}
						else
						{
							printf("喂水阀故障。\r\n");
							work_fault.BIT3 = 1;
							CLOSE_RELAY3;
							Uart1.TxBuffer[7] = 0x00;
						}
					}
					else
					{
						printf("喂水阀在打开状态。\r\n");
						work_fault.BIT3 = 0;
						Uart1.TxBuffer[7] = 0x02;
					}
				}
				else
				{
					printf("收到关喂水阀指令。\r\n");
					CLOSE_RELAY3;
					Delay_ms(500);
					if(READ_RELAY3 == True)
					{
						printf("关喂水阀故障。\r\n");
						work_fault.BIT3 = 1;
						Uart1.TxBuffer[7] = 0x01;
					}
					else
					{
						printf("喂水阀在关状态。\r\n");
						work_fault.BIT3 = 0;
						Uart1.TxBuffer[7] = 0x00;
					}
				}
				Uart1.TxBuffer[6] = 0x03;
			break;
			case 0x04:
				if(Uart1.RxBuffer[7] == True)
				{
					printf("收到开喂食阀指令，10秒。\r\n");
					if(READ_RELAY4 == False)
					{
						START_RELAY4;
						Delay_ms(500);
						if(READ_RELAY4 == True)
						{
							t2_count_ms[T2_COUNTER_S_10] = 0;
							auto_water = 0x02;
							work_fault.BIT4 = 0;
							Uart1.TxBuffer[7] = 0x01;
						}
						else
						{
							printf("喂食阀故障。\r\n");
							work_fault.BIT4 = 1;
							CLOSE_RELAY4;
							Uart1.TxBuffer[7] = 0x00;
						}
					}
					else
					{
						printf("喂食阀在打开状态。\r\n");
						Uart1.TxBuffer[7] = 0x02;
					}
				}
				else
				{
					printf("收到关喂食阀指令。\r\n");
					CLOSE_RELAY4;
					Delay_ms(500);
					if(READ_RELAY4 == True)
					{
						printf("关喂食阀故障。\r\n");
						work_fault.BIT4 = 1;
						Uart1.TxBuffer[7] = 0x01;
					}
					else
					{
						work_fault.BIT4 = 0;
						Uart1.TxBuffer[7] = 0x00;
					}
				}
				Uart1.TxBuffer[6] = 0x04;
			break;
			case 0x05:
				if(Uart1.RxBuffer[7] == True)
				{
					printf("收到开雨刷器指令。\r\n");
					if(READ_RELAY5 == False)
					{
						START_RELAY5;
						Delay_ms(1000);
						if(READ_RELAY5 == True)
						{
							work_fault.BIT5 = 0;
							Uart1.TxBuffer[7] = 0x01;
						}
						else
						{
							printf("雨刷器故障。\r\n");
							work_fault.BIT5 = 1;
							CLOSE_RELAY5;
							Uart1.TxBuffer[7] = 0x00;
						}
					}
					else
					{
						printf("雨刷器在打开状态。\r\n");
						work_fault.BIT5 = 0;
						Uart1.TxBuffer[7] = 0x02;
					}
				}
				else
				{
					printf("收到关雨刷器指令。\r\n");
					CLOSE_RELAY5;
					Delay_ms(500);
					if(READ_RELAY5 == True)
					{
						printf("关雨刷器故障。\r\n");
						Uart1.TxBuffer[7] = 0x01;
						work_fault.BIT5 = 1;
					}
					else
					{
						work_fault.BIT5 = 0;
						Uart1.TxBuffer[7] = 0x00;
					}
				}
				Uart1.TxBuffer[6] = 0x05;
			break;
			case 0x06:
				if(Uart1.RxBuffer[7] == True)
				{
					printf("收到开清洗泵指令。\r\n");
					if(READ_RELAY6 == False)
					{
						START_RELAY6;
						Delay_ms(500);
						if(READ_RELAY6 == True)
						{

							work_fault.BIT6 = 0;
							Uart1.TxBuffer[7] = 0x01;
						}
						else
						{
							printf("清洗泵故障。\r\n");
							work_fault.BIT6 = 1;
							CLOSE_RELAY6;
							Uart1.TxBuffer[7] = 0x00;
						}
					}
					else
					{
						printf("清洗泵在打开状态。\r\n");
						work_fault.BIT6 = 0;
						Uart1.TxBuffer[7] = 0x02;
					}
				}
				else
				{
					printf("收到关清洗泵指令。\r\n");
					CLOSE_RELAY6;
					Delay_ms(500);
					if(READ_RELAY6 == True)
					{
						printf("关清洗泵故障。\r\n");
						work_fault.BIT6 = 0x01;
						Uart1.TxBuffer[7] = 0x01;
					}
					else
					{
						work_fault.BIT6 = 0x00;
						Uart1.TxBuffer[7] = 0x00;
					}
				}
				Uart1.TxBuffer[6] = 0x06;
			break;
			case 0x07:
				if(Uart1.RxBuffer[7] == True)
				{
					printf("收到开吹风机指令。\r\n");
					if(READ_RELAY7 == False)
					{
						START_RELAY7;
						Delay_ms(1000);
						if(READ_RELAY7 == True)
						{
							Uart1.TxBuffer[7] = 0x01;
							work_fault.BIT7 = 0x00;
							t2_count_ms[T2_COUNTER_S_300] = 0;
							chui_value = 1;
							chui_step = 0;
							chui_times = 0;
						}
						else
						{
							printf("吹风机故障。\r\n");
							Uart1.TxBuffer[7] = 0x00;
							work_fault.BIT7 = 0x01;
							CLOSE_RELAY7;
						}
					}
					else
					{
						Uart1.TxBuffer[7] = 0x02;
						work_fault.BIT7 = 0x00;
					}
				}
				else
				{
					chui_value = 0;
					chui_step = 0;
					chui_times = 0;
					printf("收到关吹风机指令。\r\n");
					CLOSE_RELAY7;
					Delay_ms(500);
					if(READ_RELAY7 == True)
					{
						printf("关吹风机故障。\r\n");
						Uart1.TxBuffer[7] = 0x01;
						work_fault.BIT7 = 0x01;
					}
					else
					{
						Uart1.TxBuffer[7] = 0x00;
						work_fault.BIT7 = 0x00;
					}
				}
				Uart1.TxBuffer[6] = 0x07;
			break;
			case 0x08:
				if(Uart1.RxBuffer[7] == True)
				{
					printf("收到开换气扇指令。\r\n");
					if((READ_RELAY8 == False) && (READ_RELAY9 == False))
					{
						START_RELAY8;
						START_RELAY9;
						Delay_ms(500);
						if((READ_RELAY8 == True) && (READ_RELAY9 == True))
						{
							Uart1.TxBuffer[7] = 0x01;
						}
						else
						{
							CLOSE_RELAY8;
							CLOSE_RELAY9;
							printf("换气扇故障。\r\n");
							Uart1.TxBuffer[7] = 0x00;
						}
					}
					else
					{
						Uart1.TxBuffer[7] = 0x02;
					}
				}
				else
				{
					printf("收到关换气扇指令。\r\n");
					CLOSE_RELAY8;
					CLOSE_RELAY9;
					Delay_ms(500);
					if((READ_RELAY8 == False)&&(READ_RELAY9 == False))
					{
						Uart1.TxBuffer[7] = 0x00;
					}
					else
					{
						printf("关换气扇指令。\r\n");
						Uart1.TxBuffer[7] = 0x01;
					}
				}
				Uart1.TxBuffer[6] = 0x08;
			break;
			case 0x0A:
				if(Uart1.RxBuffer[7] == True)
				{
					printf("接收到打开消毒灯指令。\r\n");
					START_RELAY10;
				}
				else
				{
					printf("接收到关闭消毒灯指令。\r\n");
					CLOSE_RELAY10;
				}
				Uart1.TxBuffer[7] = Uart1.RxBuffer[7];
				Uart1.TxBuffer[6] = 0x0A;
			break;
			case 0x0C:
				if(Uart1.RxBuffer[7] == True)
				{
					printf("接收到打开强制消毒指令。\r\n");
					t2_count_ms[T2_COUNTER_S_20]  = 0;
					driver.mode = 0x02;
					printf("开始强制清洗，步骤1，延时20秒判断。\r\n");
					driver.step = 0xff;
					at24c16_write(0x00,driver.mode);
					Uart1.TxBuffer[7] = 0x01;
				}
				else if(Uart1.TxBuffer[7] == 0x00)
				{
					printf("接收到关闭强制消毒指令。\r\n");
					driver.mode = 0x00;
					at24c16_write(0x00,driver.mode);
					Uart1.TxBuffer[7] = 0x00;
				}
				Uart1.TxBuffer[6] = 0x0B;
			break;
			case 0x0B:
				if(driver.mode == 0x02)
				{
					Uart1.TxBuffer[7] = 0xFF;
					printf("在消毒中。\r\b");
				}
				else if(Uart1.RxBuffer[7] == True)
				{
					if(driver.mode == 0x01)
					{
						Uart1.TxBuffer[7] = 0xEE;
						printf("在工作中。\r\b");
					}
					else
					{
							alarm_start = 2;//开启工作
							printf("开启工作。\r\n");
							if((READ_RELAY8 == False) || (READ_RELAY9 == False))
							{
								START_RELAY8;
								START_RELAY9;
							}
							if(READ_LIMIT_SWITCH == False)
							{
								OPEN_DOOR();
								if(READ_LIMIT_SWITCH != True)
								{
									work_fault.BIT0 = 1;
									driver.mode = 0x00;
									at24c16_write(0x00,driver.mode);
									Uart1.TxBuffer[7] = 0x00;
								}
								else
								{
									printf("门已开，等待放入宠物，延时35秒。\r\n");
									driver.mode = 0x01;
									driver.step = 0x01;
									work_fault.BIT0 = 0x00;
									at24c16_write(0x00,driver.mode);
									Uart1.TxBuffer[7] = 0x01;
								}
							}
							else
							{
									printf("门一直在开状态，等待放入宠物，延时35秒。\r\n");
									driver.mode = 0x01;
									driver.step = 0x01;
									work_fault.BIT0 = 0x00;
									at24c16_write(0x00,driver.mode);
									Uart1.TxBuffer[7] = 0x02;
							}
					}
				}
				else if(Uart1.RxBuffer[7] == 0x00)
				{
						printf("停止工作。\r\n");
						alarm_start = 0x03;//停止工作
						if((READ_RELAY8 == True) || (READ_RELAY9 == True))
						{
							CLOSE_RELAY8;
							CLOSE_RELAY9;
						}
						if(READ_LIMIT_SWITCH == False)
						{
							OPEN_DOOR();
							if(READ_LIMIT_SWITCH != True)
							{
								work_fault.BIT0 = 0x01;
								driver.mode = 0x01;
								//at24c16_write(0x00,driver.mode);
								Uart1.TxBuffer[7] = 0x00;
							}
							else
							{
								work_fault.BIT0 = 0x00;
								driver.mode = 0x02;
								at24c16_write(0x00,driver.mode);
								Uart1.TxBuffer[7] = 0x01;
								printf("开始强制清洗，步骤一，延时20秒判断。\r\n");
								t2_count_ms[T2_COUNTER_S_20]  = 0;
								driver.step = 0xff;
							}
						}
						else
						{
							driver.mode = 0x02;
							printf("开始强制清洗，步骤一，延时20秒判断。\r\n");
							t2_count_ms[T2_COUNTER_S_20]  = 0;
							driver.step = 0xff;
							Uart1.TxBuffer[7] = 0x02;
						}
				}
				Uart1.TxBuffer[6] = 0x0B;
			break;
			case 0x10:
				printf("强制开门。\r\n");
				if(READ_LIMIT_SWITCH == False)
					{
						OPEN_DOOR();
						if(READ_LIMIT_SWITCH != True)
						{
							work_fault.BIT0 = 0x01;
							Uart1.TxBuffer[7] = 0x00;
						}
						else
						{
							driver.mode = 0x00;
							work_fault.BIT0 = 0x00;
							Uart1.TxBuffer[7] = 0x01;
							at24c16_write(0x00,driver.mode);
						}
					}
					else
					{
						driver.mode = 0x00;
						at24c16_write(0x00,driver.mode);
						Uart1.TxBuffer[7] = 0x02;
					}
					Uart1.TxBuffer[6] = 0x10;
			break;
			case 0x0D:
					Uart1.TxBuffer[6] = 0x0D;
					Uart1.TxBuffer[7] = Noise_db;
			break;
			case 0x0E:
					Uart1.TxBuffer[6] = 0x0E;
					Uart1.TxBuffer[7] = READ_HC_SR505_OUT1 | READ_HC_SR505_OUT2;
			break;
			case 0x0F:
					Uart1.TxBuffer[6] = 0x12;
					Uart1.TxBuffer[7] = 0x00;
			break;
			case 0x12:

					at24c16_write(0x00,0x00);

					Delay_ms(1000);

					SoftReset();
			break;
			case 0x13:
					at24c16_write(0x02,0x00);

					Delay_ms(1000);

					SoftReset();
			break;
			case 0x14:
					SoftReset();
			break;
			default:
				Uart1.TxBuffer[6] = 0xff;
			break;
		}
		memset(Uart1.RxBuffer,0x00,sizeof(Uart1.RxBuffer));
		Uart1.TxBuffer[0] = 0xAA;
		Uart1.TxBuffer[1] = 0xAA;
		Uart1.TxBuffer[2] = id_name[0];
		Uart1.TxBuffer[3] = id_name[1];
		Uart1.TxBuffer[4] = id_name[2];
		Uart1.TxBuffer[5] = id_name[3];
		if(ModbusCrc16_Send(Uart1.TxBuffer,sizeof(Uart1.TxBuffer)) == True)
		{
			HAL_UART_Transmit(&huart1, Uart1.TxBuffer,sizeof(Uart1.TxBuffer), UART_Transmit_Timeout);
			printf("回复。\r\n");
		}
	}
}
/**
  * @brief  This function Check status.
  * @param  None
  * @retval : None
  */
void CHECK_STATUS(void)
{
	work_status = driver.mode;
	if((net_check  <= 4)||(net_check >= 7))
	{
		led_status = WORK_ERROR;
	}
	else if(work_fault.b != 0)
	{
		led_status = WORK_CLOSE;
		//printf("设备故障模式/r/n");
	}
	else
	{
		if(driver.mode == 2)
		{
			led_status = WORK_UNUSUAL;
		}
		else
		{
			led_status = driver.mode;
		}
		//printf("设备 = %d模式/r/n",led_status);
	}
	door_status = READ_LIMIT_SWITCH;
	if((door_status == 0)&&(alarm_start == 1))
	{
		CLOSE_RELAY2;
		alarm_start = 0x00;
		alarm_times = 0x00;
		meep_status = MEEP_CLOSE;
	}
	if((door_status == 0) && ((alarm_start == 2)||(alarm_start == 3)))
	{
		CLOSE_RELAY2;
		Delay_ms(500);
		if(READ_RELAY2 == True)
		{
			Uart1.TxBuffer[7] = 0x01;
		}
		else
		{
			Uart1.TxBuffer[7] = 0x00;
		}
		alarm_start = 0x00;
		t2_count_ms[T2_COUNTER_S_35] = 0;
		meep_status = MEEP_CLOSE;
		alarm_times = 0x00;
	}
//	if(((alarm_start != 2)&&(alarm_start!=3))&&(door_status == 1)&&(t2_count_ms[T2_COUNTER_S_9] >= T2_TIMEOUT_S_9))
//	{
//			t2_count_ms[T2_COUNTER_S_9] = 0;
//			Alarm_Data[2] = id_name[0];
//			Alarm_Data[3] = id_name[1];
//			Alarm_Data[4] = id_name[2];
//			Alarm_Data[5] = id_name[3];
//			Alarm_Data[6] = 0x01;
//			Alarm_Data[7] = 0x01;
//			if(ModbusCrc16_Send(Alarm_Data,sizeof(Alarm_Data)) == True)
//			{
//				HAL_UART_Transmit(&huart1, Alarm_Data,sizeof(Alarm_Data), UART_Transmit_Timeout);
//				printf("未发送指令时，门开启报警\r\n");
//				meep_status = MEEP_SHORT_TIME;
//			}
//	}
	if((t2_count_ms[T2_COUNTER_S_35] > T2_TIMEOUT_S_35) &&(door_status == 1) && (C322_Config_Success != 0))
	{
			t2_count_ms[T2_COUNTER_S_35] = 0;
			Alarm_Data[2] = id_name[0];
			Alarm_Data[3] = id_name[1];
			Alarm_Data[4] = id_name[2];
			Alarm_Data[5] = id_name[3];
			Alarm_Data[6] = 0x02;
			Alarm_Data[7] = alarm_times++;
			if(ModbusCrc16_Send(Alarm_Data,sizeof(Alarm_Data)) == True)
			{
				HAL_UART_Transmit(&huart1, Alarm_Data,sizeof(Alarm_Data), UART_Transmit_Timeout);
				printf("长时间门开启报警，已%d秒。\r\n",(alarm_times)*35);
				meep_status = MEEP_SHORT_TIME;
				t2_count_ms[T2_COUNTER_MS_1500] = 0;
			}
	}
	if((auto_fooh == 0x01)&&(t2_count_ms[T2_COUNTER_S_15] > T2_TIMEOUT_S_15))
	{
		t2_count_ms[T2_COUNTER_S_15] = 0;
		auto_fooh = 0x00;
		CLOSE_RELAY3;
		printf("停止喂水。\r\n");
	}
	if((auto_water == 0x02)&&(t2_count_ms[T2_COUNTER_S_10] > T2_TIMEOUT_S_10))
	{
		t2_count_ms[T2_COUNTER_S_10] = 0;
		auto_water = 0x00;
		CLOSE_RELAY4;
		printf("停止喂食。\r\n");
	}
}
/**
  * @brief  This function Check status.
  * @param  None
  * @retval : None
  */
void READ_WORKSTATUS(void)
{
	Buff_test = at24c16_read(0x00);
	if((Buff_test == 0x00)||(Buff_test == 0xff))
	{
		driver.mode = 0x00;
	}
	else if(Buff_test == 0x01)
	{
		driver.mode = 0x01;
	}
	else if(Buff_test == 0x02)
	{
		driver.mode = 0x02;
		printf("开始强制清洗，步骤1，延时20秒判断。\r\n");
		driver.step = 0xff;
		t2_count_ms[T2_COUNTER_S_20]  = 0;
	}
	if(driver.mode == 0x00)
	{
		printf("设备在空闲模式。\r\n");
	}
	else if(driver.mode == 0x01)
	{
		printf("设备在工作中。\r\n");
	}
	else if(driver.mode == 0x02)
	{
		printf("设备在强制清洗模式。\r\n");
	}
//	if(READ_LIMIT_SWITCH != 0x00)
//	{
//		meep_status = MEEP_ALWAY_TIME;
//		alarm_start = 1;
//		CLOSE_RELAY2;
//		Delay_ms(500);
//		if(READ_RELAY2 == True)
//		{
//			Uart1.TxBuffer[7] = 0x01;
//			work_fault.BIT3 = 1;
//		}
//		else
//		{
//			work_fault.BIT3 = 0;
//			Uart1.TxBuffer[7] = 0x00;
//		}
//	}
	if((READ_LIMIT_SWITCH != 0x00)&&(alarm_start == 0))
	{
		meep_status = MEEP_SHORT_TIME;
		alarm_start = 1;
		START_RELAY2;
		Delay_ms(500);
		printf("门在开启状态。\r\n");
		if(READ_RELAY2 == False)
		{
			Uart1.TxBuffer[7] = 0x01;
		}
		else
		{
			Uart1.TxBuffer[7] = 0x00;
		}
	}
	if((at24c16_read(0x02) != 0x01) && (C322_Config_Success != 2))
	{
			printf("WIFI 模块第一次启动，未配置，进入配置模式！ %d\r\n",at24c16_read(0x02));
			usr_c322 = 0x13;
			test_c322_value = 0;
	}
	else if(C322_Config_Success != 2)
	{
		printf("WIFI 连接中，等待心跳。\r\n");
		usr_c322 = 0x13;
		test_c322_value = 0x01;
		t2_count_ms[T2_COUNTER_S_60] = 55000;
	}
	else
	{
		printf("AT命令配置wifi开始。\r\n");
	}
	if((alarm_start == 0x01)&&(C322_Config_Success != 0))
	{
			Alarm_Data[2] = id_name[0];
			Alarm_Data[3] = id_name[1];
			Alarm_Data[4] = id_name[2];
			Alarm_Data[5] = id_name[3];
			Alarm_Data[6] = 0x03;
			Alarm_Data[7] = 0x01;
			if(ModbusCrc16_Send(Alarm_Data,sizeof(Alarm_Data)) == True)
			{
				HAL_UART_Transmit(&huart1, Alarm_Data,sizeof(Alarm_Data), UART_Transmit_Timeout);
				printf("未发送指令时，门开启报警。\r\n");
				meep_status = MEEP_SHORT_TIME;
				t2_count_ms[T2_COUNTER_MS_1500] = 0;
			}
	}
}

void chuifengji(void)
{
	if( chui_value == 1)
	{
		if((chui_step == 0)&&(t2_count_ms[T2_COUNTER_S_300] > T2_TIMEOUT_S_300))
		{
			chui_times++;
			printf("CF		:		 %d.\r\n",chui_times);
			chui_step++;
			CLOSE_RELAY7;
			Delay_ms(500);
			if(READ_RELAY7 == True)
			{
				printf("关吹风机故障。\r\n");
				Uart1.TxBuffer[7] = 0x01;
				work_fault.BIT7 = 0x01;
			}
			t2_count_ms[T2_COUNTER_S_2_60] = 0;
			if(chui_times >= 3)
			{
				chui_step = 0xff;
				chui_value = 2;
				printf("Closed CF! \r\n");
			}
		}
		else if((chui_step ==1)&&(t2_count_ms[T2_COUNTER_S_2_60] > T2_TIMEOUT_S_2_60))
		{
			chui_step = 0;
			if(READ_RELAY7 == False)
			{
				START_RELAY7;
				Delay_ms(1000);
				if(READ_RELAY7 == True)
				{
					Uart1.TxBuffer[7] = 0x01;
					work_fault.BIT7 = 0x00;
				}
				else
				{
					printf("吹风机故障。\r\n");
					Uart1.TxBuffer[7] = 0x00;
					work_fault.BIT7 = 0x01;
					CLOSE_RELAY7;
				}
			}
			t2_count_ms[T2_COUNTER_S_300] = 0;
		}
	}
}
/* USER CODE END 4 */

void Error_Handler(void)
{
}

/************************ (C) COPYRIGHT STMicroelectronics *****END OF FILE****/
